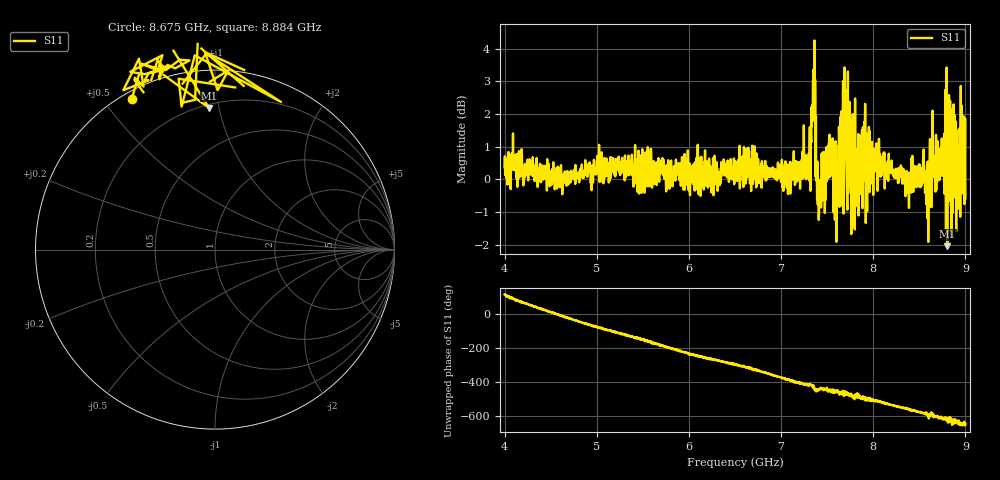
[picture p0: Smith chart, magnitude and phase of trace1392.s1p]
! Created with skrf 1.8.0 (http://scikit-rf.org).
# Hz S RI R 50.0
!freq ReS11 ImS11
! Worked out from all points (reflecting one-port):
!   1601 points, 4 GHz to 9 GHz, reference 50 ohm
!   lowest |S11| = -2.0 dB at 8.803 GHz (marker M1), VSWR 8.55, Z = 11.1 + j46.7 ohm
!   phase of S11 starts at 116 deg and turns -765 deg over the sweep
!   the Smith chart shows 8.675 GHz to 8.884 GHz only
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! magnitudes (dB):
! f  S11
! 4 GHz  0.4
! 4.1 GHz  0.7
! 4.625 GHz  -0.5
! 5.25 GHz  0.3
! 5.875 GHz  0.2
! 6.5 GHz  0.6
! 7.125 GHz  0.3
! 7.294 GHz  0.6
! 7.347 GHz  3.0
! 7.369 GHz  3.1
! 7.409 GHz  -1.2
! 7.538 GHz  0.6
! 7.609 GHz  0.5
! 7.669 GHz  1.5
! 7.75 GHz  0.3
! 7.775 GHz  1.7
! 7.891 GHz  0.6
! 7.944 GHz  1.0
! 7.962 GHz  1.5
! 8.375 GHz  0.1
! 8.522 GHz  0.2
! 8.584 GHz  0.4
! 8.634 GHz  -0.8
! 8.803 GHz  -2.0
! 8.819 GHz  1.0
! 8.869 GHz  -0.6
! 8.972 GHz  0.7
! 9 GHz  -0.6
